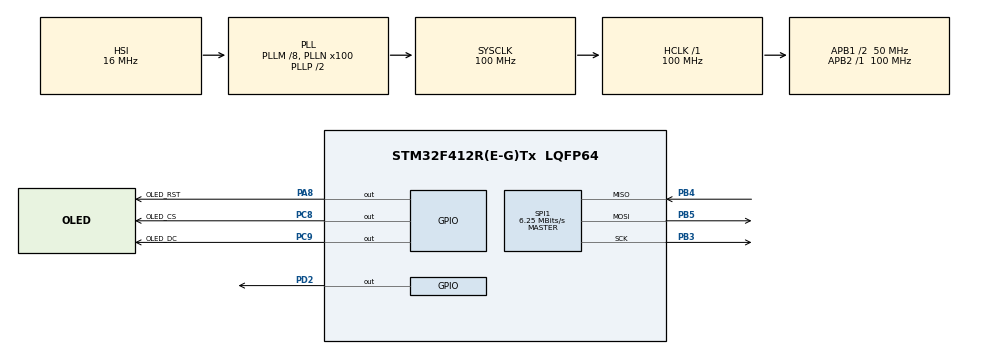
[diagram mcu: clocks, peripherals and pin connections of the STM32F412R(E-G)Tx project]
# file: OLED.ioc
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Mcu.Family=STM32F4
Mcu.Name=STM32F412R(E-G)Tx
Mcu.Package=LQFP64
NVIC.PriorityGroup=NVIC_PRIORITYGROUP_4
PA13.Mode=Serial_Wire
PA13.Signal=SYS_JTMS-SWDIO
PA14.Mode=Serial_Wire
PA14.Signal=SYS_JTCK-SWCLK
PA8.GPIO_Label=OLED_RST
PA8.Signal=GPIO_Output
PB3.Mode=Full_Duplex_Master
PB3.Signal=SPI1_SCK
PB4.Mode=Full_Duplex_Master
PB4.Signal=SPI1_MISO
PB5.Mode=Full_Duplex_Master
PB5.Signal=SPI1_MOSI
PC8.GPIO_Label=OLED_CS
PC8.PinState=GPIO_PIN_SET
PC8.Signal=GPIO_Output
PC9.GPIO_Label=OLED_DC
PC9.Signal=GPIO_Output
PD2.PinState=GPIO_PIN_SET
PD2.Signal=GPIO_Output
PH0\ -\ OSC_IN.Mode=HSE-External-Oscillator
PH0\ -\ OSC_IN.Signal=RCC_OSC_IN
PH1\ -\ OSC_OUT.Mode=HSE-External-Oscillator
PH1\ -\ OSC_OUT.Signal=RCC_OSC_OUT
ProjectManager.HeapSize=0x200
ProjectManager.StackSize=0x400
ProjectManager.TargetToolchain=MDK-ARM V5.32
RCC.AHBFreq_Value=100000000
RCC.APB1CLKDivider=RCC_HCLK_DIV2
RCC.APB1Freq_Value=50000000
RCC.APB1TimFreq_Value=100000000
RCC.APB2Freq_Value=100000000
RCC.APB2TimFreq_Value=100000000
RCC.CortexFreq_Value=100000000
RCC.HCLKFreq_Value=100000000
RCC.HSE_VALUE=8000000
RCC.PLLM=8
RCC.PLLN=100
RCC.SYSCLKFreq_VALUE=100000000
RCC.SYSCLKSource=RCC_SYSCLKSOURCE_PLLCLK
RCC.USBFreq_Value=100000000
RCC.VCOOutputFreq_Value=200000000
SPI1.BaudRatePrescaler=SPI_BAUDRATEPRESCALER_16
SPI1.CalculateBaudRate=6.25 MBits/s
SPI1.Direction=SPI_DIRECTION_2LINES
SPI1.Mode=SPI_MODE_MASTER
SPI1.VirtualType=VM_MASTER
board=custom

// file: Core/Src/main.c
/* USER CODE BEGIN Header */
/**
  ******************************************************************************
  * @file           : main.c
  * @brief          : Main program body
  ******************************************************************************
  * @attention
  *
  * <h2><center>&copy; Copyright (c) 2021 STMicroelectronics.
  * All rights reserved.</center></h2>
  *
  * This software component is licensed by ST under BSD 3-Clause license,
  * the "License"; You may not use this file except in compliance with the
  * License. You may obtain a copy of the License at:
  *                        opensource.org/licenses/BSD-3-Clause
  *
  ******************************************************************************
  */
/* USER CODE END Header */
#include "main.h"
#include "spi.h"
#include "gpio.h"

/* USER CODE BEGIN Includes */
#include "oled.h"
#include "w25q128.h"
#include "string.h"
#include "flash.h"
/* USER CODE END Includes */

/* USER CODE BEGIN PTD */
uint8_t datatemp[20];
/* USER CODE END PTD */

void SystemClock_Config(void);

/* USER CODE BEGIN 0 */
int flag;
OTA_InfoCB OTA_Info;
OTA_InfoCB OTA_Text;
UpDataA_CB UpDataA;

uint32_t BootSatFlag;

typedef  void (*load_a)(void);			//定义一个函数类型的参数.

//设置栈顶地址
//addr:栈顶地址
__asm void MSR_MSP(uint32_t addr) {
    MSR MSP, r0 			//set Main Stack value
    BX r14
}

load_a load_A;

//跳转到应用程序段
//appxaddr:用户代码起始地址.
void LOAD_A(uint32_t addr) {
	if(((*(__IO uint32_t*)addr)&0x2FFE0000)==0x20000000) 	//检查栈顶地址是否合法.
	{
		load_A=(load_a)*(__IO uint32_t*)(addr+4);		//用户代码区第二个字为程序开始地址(复位地址)
		MSR_MSP(*(__IO uint32_t*)addr);					//初始化APP堆栈指针(用户代码区的第一个字用于存放栈顶地址)
		load_A();									//跳转到APP.
	}
}

void BootLoader_Clear(void)
{
//	HAL_GPIO_DeInit();
}
/* USER CODE END 0 */

int main(void)
{

  /* MCU Configuration--------------------------------------------------------*/

  /* Reset of all peripherals, Initializes the Flash interface and the Systick. */
  HAL_Init();

  /* Configure the system clock */
  SystemClock_Config();

  /* Initialize all configured peripherals */
  MX_GPIO_Init();
  MX_SPI1_Init();
  /* USER CODE BEGIN 2 */
  OLED_Init();//OLED初始化
  OLED_Clear(); //OLED清屏
  /* USER CODE END 2 */

  /* Infinite loop */
  /* USER CODE BEGIN WHILE */

//	W25Q128_Init();
//	memset(&OTA_Info,0,OTA_INFOCB_SIZE);
//	W25Q128_Read((uint8_t*)&OTA_Info,20*1024*64,OTA_INFOCB_SIZE);//读标志位
//	if(OTA_Info.OTA_flag == OTA_SET_FLAG)
//	{
//		BootSatFlag |= UPDATA_A_FLAG;
//		UpDataA.W25Q128_BlockNB = 0;
//	}
//	else
//	{
//		LOAD_A(APPLICATION_BASE);//跳转执行FLASH_APP代码
//	}
//	char data[]="Hello MQTT";
//	uint32_t data = 0xAABB1122;
//	OTA_Text.OTA_flag = 0x11223344;
//	for(int i=0;i<11;i++)
//	{
//		OTA_Text.Firelen[i] = 0x55;
//	}
//    W25Q128_Write((uint8_t*)&OTA_Text, 0x000000, OTA_INFOCB_SIZE);
//	memset(&OTA_Info,0,OTA_INFOCB_SIZE);
//	W25Q128_Read((uint8_t*)&OTA_Info,0x000000,OTA_INFOCB_SIZE);
//
//    W25Q128_Read((uint8_t*)&datatemp, 0x000000, 4);

//	uint8_t i;
char data[] = "Hello MQTT";
EraseFlashArea(APPLICATION_BASE,APPLICATION_SIZE);
WriteFlashData(APPLICATION_BASE, (uint8_t*)data, 10);
ReadFlashData(APPLICATION_BASE,datatemp,10);
  while (1)
  {
//	  if(BootSatFlag&UPDATA_A_FLAG)
//	  {
//		  if(OTA_Info.Firelen[UpDataA.W25Q128_BlockNB] %4 ==0)
//		  {
//			  EraseFlashArea(APPLICATION_BASE,APPLICATION_SIZE);
//			  for(i=0;i<OTA_Info.Firelen[UpDataA.W25Q128_BlockNB]/1024;i++)
//			  {
//				  W25Q128_Read(UpDataA.Updatabuff, i*1024 + UpDataA.W25Q128_BlockNB*64*1024, 1024);
//				  WriteFlashData(APPLICATION_BASE+i*1024, UpDataA.Updatabuff, 1024);
//			  }
//			  if(OTA_Info.Firelen[UpDataA.W25Q128_BlockNB] % 1024 != 0)
//			  {
//				  W25Q128_Read(UpDataA.Updatabuff, i*1024 + UpDataA.W25Q128_BlockNB*64*1024, OTA_Info.Firelen[UpDataA.W25Q128_BlockNB] % 1024);
//				  WriteFlashData(APPLICATION_BASE+i*1024, UpDataA.Updatabuff, OTA_Info.Firelen[UpDataA.W25Q128_BlockNB] % 1024);
//			  }
//			  if(UpDataA.W25Q128_BlockNB == 0)
//			  {
//				  OTA_Info.OTA_flag = 0;
//				  W25Q128_Write((uint8_t*)&OTA_Info, 20*1024*64, OTA_INFOCB_SIZE);	//写入标志位  第20个块
//			  }
//			  NVIC_SystemReset();
//		  }
//		  else
//		  {
//			  //长度错误
//			  BootSatFlag &=~UPDATA_A_FLAG;
//		  }
//	  }
    /* USER CODE END WHILE */

    /* USER CODE BEGIN 3 */
	OLED_ShowCHinese(0, 0, 0);  // 显示"科"
    OLED_ShowCHinese(16, 0, 1); // 显示"技"
	OLED_ShowNum(0,2,1233,4,16);
  }
  /* USER CODE END 3 */
}

void SystemClock_Config(void)
{
  RCC_OscInitTypeDef RCC_OscInitStruct = {0};
  RCC_ClkInitTypeDef RCC_ClkInitStruct = {0};

  /** Configure the main internal regulator output voltage
  */
  __HAL_RCC_PWR_CLK_ENABLE();
  __HAL_PWR_VOLTAGESCALING_CONFIG(PWR_REGULATOR_VOLTAGE_SCALE1);

  /** Initializes the RCC Oscillators according to the specified parameters
  * in the RCC_OscInitTypeDef structure.
  */
  RCC_OscInitStruct.OscillatorType = RCC_OSCILLATORTYPE_HSI;
  RCC_OscInitStruct.HSIState = RCC_HSI_ON;
  RCC_OscInitStruct.HSICalibrationValue = RCC_HSICALIBRATION_DEFAULT;
  RCC_OscInitStruct.PLL.PLLState = RCC_PLL_ON;
  RCC_OscInitStruct.PLL.PLLSource = RCC_PLLSOURCE_HSI;
  RCC_OscInitStruct.PLL.PLLM = 8;
  RCC_OscInitStruct.PLL.PLLN = 100;
  RCC_OscInitStruct.PLL.PLLP = RCC_PLLP_DIV2;
  RCC_OscInitStruct.PLL.PLLQ = 2;
  RCC_OscInitStruct.PLL.PLLR = 2;
  if (HAL_RCC_OscConfig(&RCC_OscInitStruct) != HAL_OK)
  {
    Error_Handler();
  }

  /** Initializes the CPU, AHB and APB buses clocks
  */
  RCC_ClkInitStruct.ClockType = RCC_CLOCKTYPE_HCLK|RCC_CLOCKTYPE_SYSCLK
                              |RCC_CLOCKTYPE_PCLK1|RCC_CLOCKTYPE_PCLK2;
  RCC_ClkInitStruct.SYSCLKSource = RCC_SYSCLKSOURCE_PLLCLK;
  RCC_ClkInitStruct.AHBCLKDivider = RCC_SYSCLK_DIV1;
  RCC_ClkInitStruct.APB1CLKDivider = RCC_HCLK_DIV2;
  RCC_ClkInitStruct.APB2CLKDivider = RCC_HCLK_DIV1;

  if (HAL_RCC_ClockConfig(&RCC_ClkInitStruct, FLASH_LATENCY_3) != HAL_OK)
  {
    Error_Handler();
  }
}

void Error_Handler(void)
{
  __disable_irq();
  while (1)
  {
  }
}
